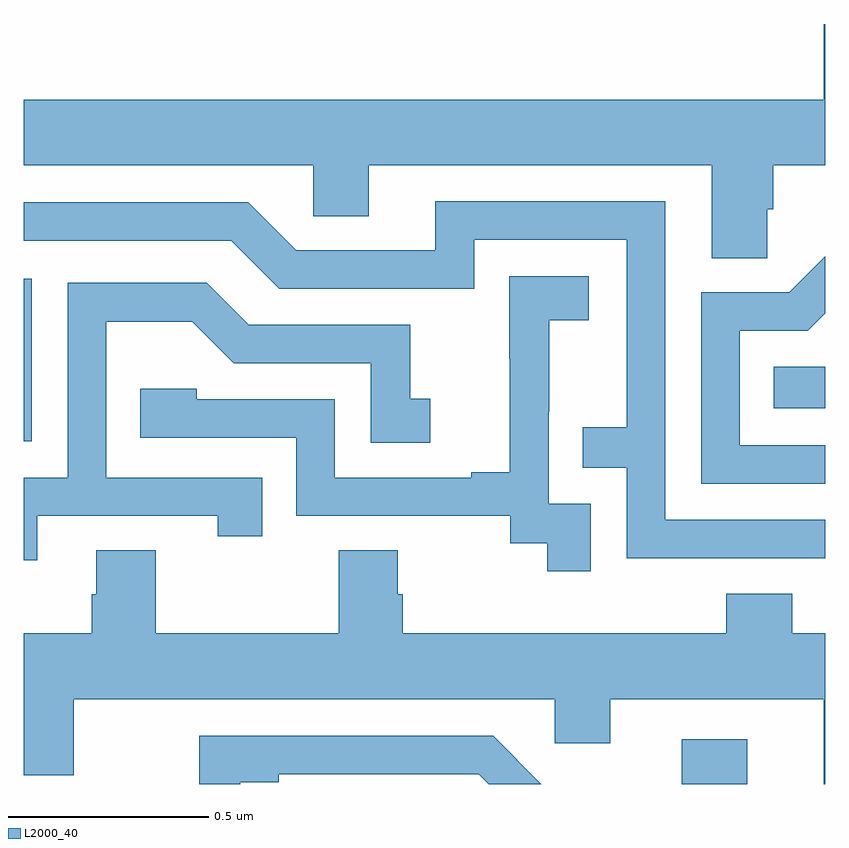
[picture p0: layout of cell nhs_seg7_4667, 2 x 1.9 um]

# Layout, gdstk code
import gdstk
lib = gdstk.Library(unit=1e-6, precision=1e-09)
def R(c, l, rs):  # rectangles x0, y0, x1, y1
    for r in rs: c.add(gdstk.rectangle(r[:2], r[2:], *l))
def P(c, l, *ps):  # polygons
    for p in ps: c.add(gdstk.Polygon(p, *l))
L2000_40 = (2000, 40)

nhs_seg7_4667 = lib.new_cell('nhs_seg7_4667')
R(nhs_seg7_4667, L2000_40, [(176.642,1071,176.806,1071.112), (175,1071.855,175.02,1072.261), (176.872,1071.938,177,1072.042)])
P(nhs_seg7_4667, L2000_40, [(176.856,1072.435),(176.87,1072.435),(176.87,1072.544),(177,1072.544),(177,1072.897),(176.996,1072.897),(176.996,1072.708),(175,1072.708),(175,1072.544),(175.722,1072.544),(175.722,1072.417),(175.861,1072.417),(175.861,1072.544),(176.717,1072.544),(176.717,1072.312),(176.856,1072.312)],
  [(177,1071.66),(176.601,1071.66),(176.601,1072.455),(176.027,1072.455),(176.027,1072.332),(175.68,1072.332),(175.56,1072.452),(175,1072.452),(175,1072.356),(175.518,1072.356),(175.638,1072.236),(176.124,1072.236),(176.124,1072.359),(176.505,1072.359),(176.505,1071.89),(176.395,1071.89),(176.395,1071.789),(176.505,1071.789),(176.505,1071.564),(177,1071.564)],
  [(177,1071.846),(176.787,1071.846),(176.787,1072.131),(176.956,1072.131),(177,1072.175),(177,1072.317),(176.91,1072.227),(176.691,1072.227),(176.691,1071.75),(177,1071.75)],
  [(176.415,1071.699),(176.31,1071.699),(176.31,1071.929),(176.312,1071.929),(176.312,1072.157),(176.41,1072.157),(176.41,1072.267),(176.212,1072.267),(176.212,1072.061),(176.213,1072.061),(176.213,1071.778),(176.117,1071.778),(176.117,1071.765),(175.776,1071.765),(175.776,1071.96),(175.431,1071.96),(175.431,1071.987),(175.291,1071.987),(175.291,1071.864),(175.68,1071.864),(175.68,1071.669),(176.214,1071.669),(176.214,1071.601),(176.307,1071.601),(176.307,1071.531),(176.415,1071.531)],
  [(175.033,1071.669),(175.484,1071.669),(175.484,1071.618),(175.595,1071.618),(175.595,1071.765),(175.206,1071.765),(175.206,1072.154),(175.42,1072.154),(175.524,1072.05),(175.866,1072.05),(175.866,1071.852),(176.014,1071.852),(176.014,1071.961),(175.965,1071.961),(175.965,1072.146),(175.561,1072.146),(175.456,1072.251),(175.11,1072.251),(175.11,1071.765),(175,1071.765),(175,1071.558),(175.033,1071.558)],
  [(177,1071.376),(176.918,1071.376),(176.918,1071.475),(176.753,1071.475),(176.753,1071.376),(175.946,1071.376),(175.946,1071.474),(175.933,1071.474),(175.933,1071.584),(175.786,1071.584),(175.786,1071.376),(175.329,1071.376),(175.329,1071.584),(175.181,1071.584),(175.181,1071.474),(175.169,1071.474),(175.169,1071.376),(175,1071.376),(175,1071.022),(175.125,1071.022),(175.125,1071.212),(176.325,1071.212),(176.325,1071.102),(176.464,1071.102),(176.464,1071.212),(176.996,1071.212),(176.996,1071),(177,1071)],
  [(175.54,1071.004),(175.636,1071.004),(175.636,1071.024),(176.136,1071.024),(176.16,1071),(176.292,1071),(176.172,1071.12),(175.438,1071.12),(175.438,1071),(175.54,1071)])

lib.write_gds('nhs_seg7_4667.gds')
